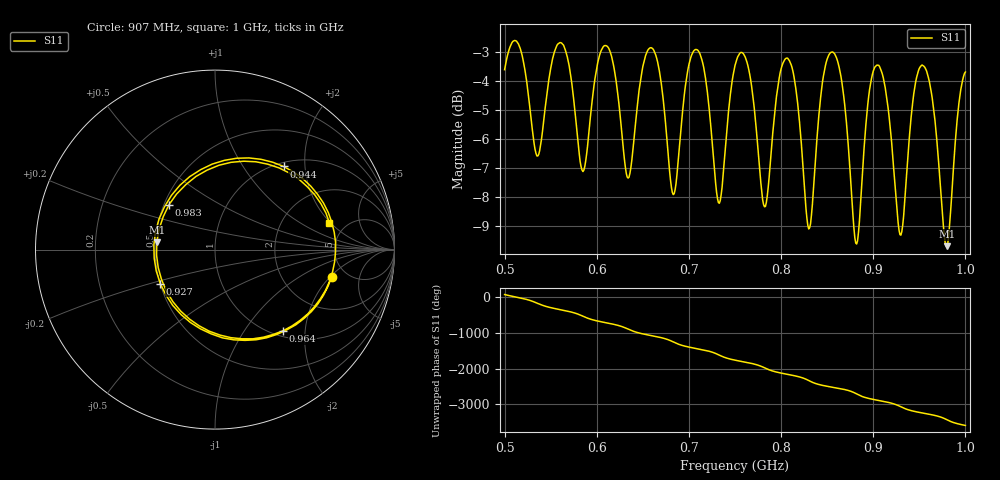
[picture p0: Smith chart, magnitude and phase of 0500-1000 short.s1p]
! NanoVNA-App by SYSJOINT et al v1.1.209 (+OD18)
! Date: 2025-09-17 10:09:25
! Start: 500MHz Stop: 1GHz Points: 501
! S-Parameter data: F S11
# Hz S RI R 50
!  Frequency  S11_Real  S11_Imag
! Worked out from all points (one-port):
!   501 points, 500 MHz to 1 GHz, reference 50 ohm
!   lowest |S11| = -9.7 dB at 980 MHz (marker M1), VSWR 1.97, Z = 25.4 + j2.33 ohm
!   |S11| at or under -10 dB: nowhere
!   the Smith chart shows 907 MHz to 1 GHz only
!   S11 on the Smith chart (normalised r, x): 907 MHz: 3.83, -2.09; 927 MHz: 0.50, -0.22; 944 MHz: 1.07, +1.55; 964 MHz: 1.10, -1.53; 983 MHz: 0.53, +0.30; 1 GHz: 3.72, +1.94
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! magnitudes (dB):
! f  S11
! 500 MHz  -3.6
! 516 MHz  -2.8
! 536 MHz  -6.6
! 563 MHz  -2.7
! 584 MHz  -7.1
! 607 MHz  -2.8
! 625 MHz  -5.1
! 635 MHz  -7.3
! 660 MHz  -2.9
! 688 MHz  -6.9
! 709 MHz  -2.9
! 733 MHz  -8.2
! 750 MHz  -3.5
! 765 MHz  -3.6
! 782 MHz  -8.3
! 813 MHz  -3.7
! 830 MHz  -9.1
! 853 MHz  -3.0
! 875 MHz  -7.2
! 883 MHz  -9.5
! 907 MHz  -3.5
! 927 MHz  -8.9
! 938 MHz  -6.4
! 944 MHz  -4.4
! 964 MHz  -4.6
! 980 MHz  -9.7
! 983 MHz  -8.9
! 1 GHz  -3.7
